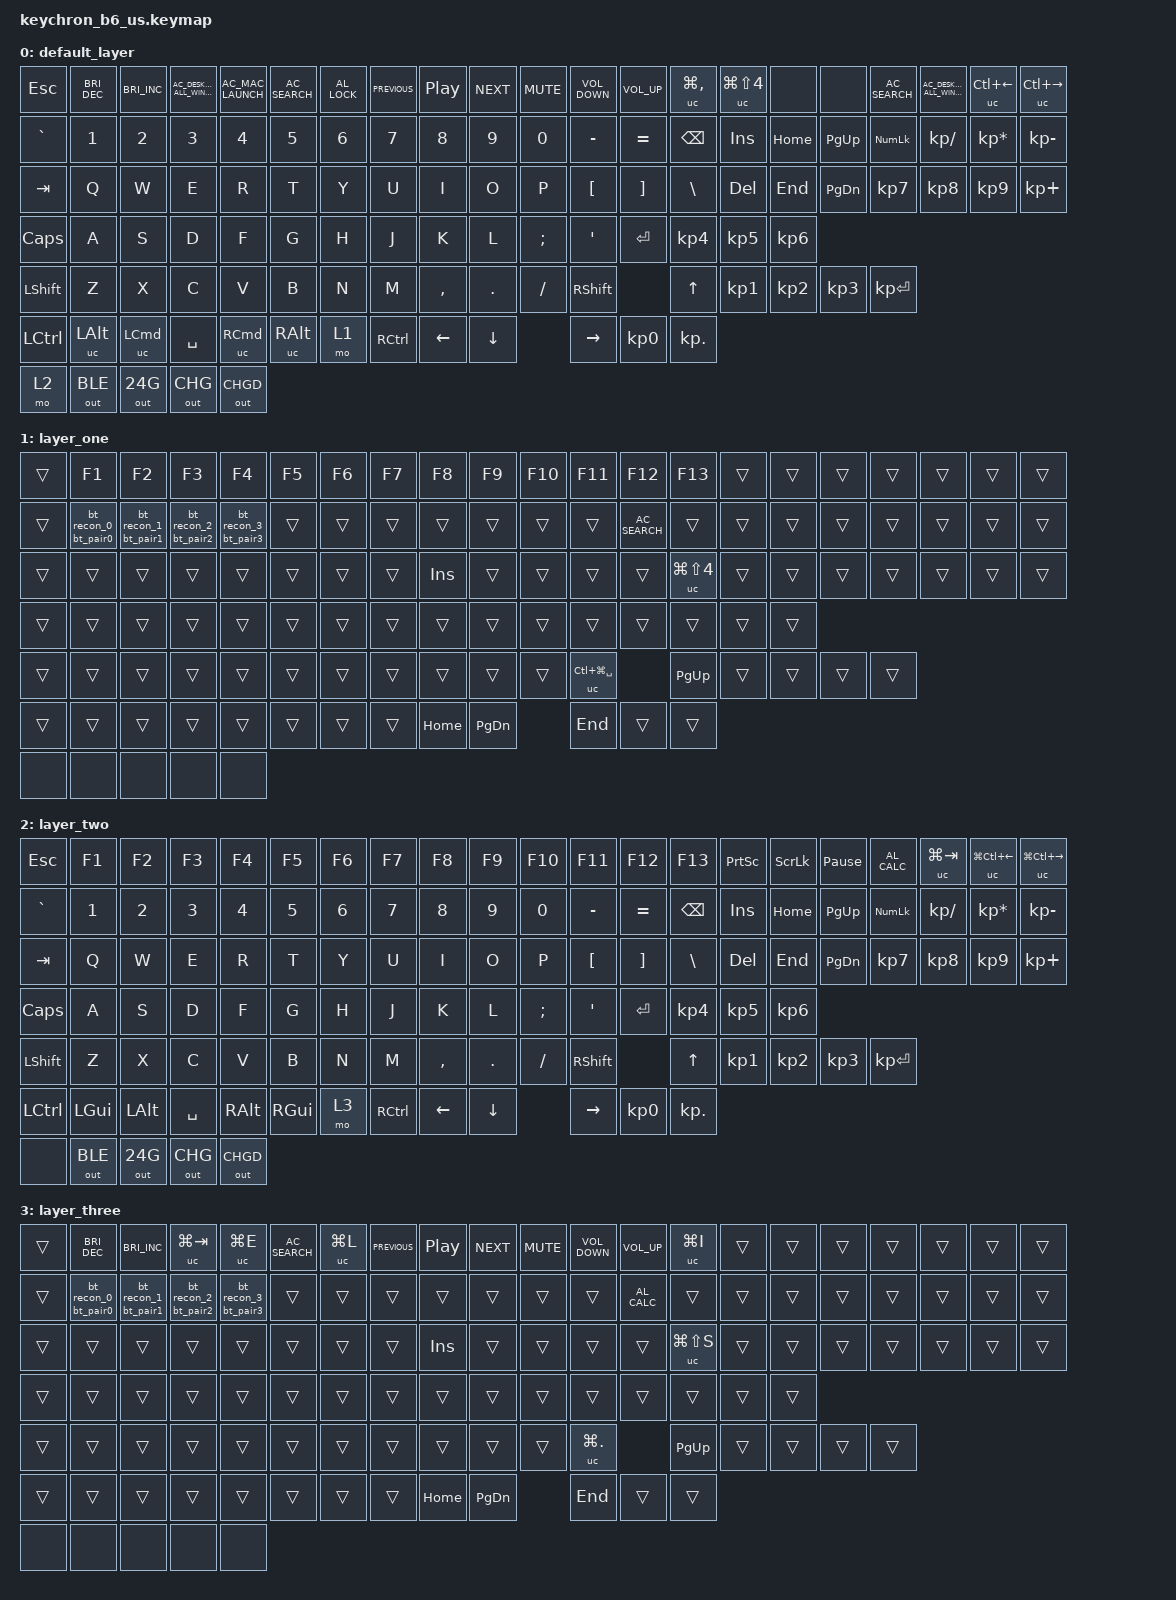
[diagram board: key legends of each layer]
/*
 * Corrected keymap for Keychron B6 Pro
 * Row sizes: 21, 21, 21, 16, 17, 13, 5 = 114 keys
 */

#include <behaviors.dtsi>
#include <dt-bindings/zmk/keys.h>
#include <dt-bindings/zmk/rgb.h>
#include <dt-bindings/zmk/bt.h>
#include <dt-bindings/zmk/outputs.h>

/ {
    ZMK_MACRO(recover, bindings = <&out OUT_RECOVER>;)
    ZMK_MACRO(change, bindings = <&out OUT_FN>;)
    ZMK_MACRO(fn_win, bindings = <&out OUT_FN_WIN>;)
    ZMK_MACRO(en_bootloader, bindings = <&bootloader>;)
    ZMK_MACRO1(MA,bindings=<&kp 0x770000>;)

    long_press_recover:l1 {
        compatible = "zmk,behavior-hold-tap";
        label = "l1";
        #binding-cells = <2>;
        flavor = "tap-preferred";
        tapping-term-ms = <3000>;
        bindings = <&recover>, <&none>;
    };
    long_press_change:l2{
        compatible = "zmk,behavior-hold-tap";
        label = "lp_change";
        #binding-cells = <2>;
        flavor = "tap-preferred";
        tapping-term-ms = <3000>;
        bindings = <&change>, <&none>;
    };
    long_press_bootloader:l3{
        compatible = "zmk,behavior-hold-tap";
        label = "lp_bootloader";
        #binding-cells = <2>;
        flavor = "tap-preferred";
        tapping-term-ms = <3000>;
        bindings = <&en_bootloader>, <&none>;
    };
    long_press_fn_win:l4{
        compatible = "zmk,behavior-hold-tap";
        label = "lp_fn_win";
        #binding-cells = <2>;
        flavor = "tap-preferred";
        tapping-term-ms = <3000>;
        bindings = <&fn_win>, <&none>;
    };

    combos1 {
        compatible = "zmk,combos";
        combo_bootloader {
            timeout-ms = <50>;
            key-positions = <0 49>;
            bindings = <&bootloader>;
        };
    };

    ZMK_MACRO(bt_pair0, bindings = <&bt BT_PAIR 0>;)
    ZMK_MACRO(bt_pair1, bindings = <&bt BT_PAIR 1>;)
    ZMK_MACRO(bt_pair2, bindings = <&bt BT_PAIR 2>;)
    ZMK_MACRO(bt_pair3, bindings = <&bt BT_PAIR 3>;)
    ZMK_MACRO(bt_recon_0, bindings = <&bt BT_SEL 0>;)
    ZMK_MACRO(bt_recon_1, bindings = <&bt BT_SEL 1>;)
    ZMK_MACRO(bt_recon_2, bindings = <&bt BT_SEL 2>;)
    ZMK_MACRO(bt_recon_3, bindings = <&bt BT_SEL 3>;)

    bt_pair_0: bt_pair_0 {
        compatible = "zmk,behavior-hold-tap";
        label = "bt_pair0";
        #binding-cells = <2>;
        flavor = "tap-preferred";
        tapping-term-ms = <3000>;
        bindings = <&bt_pair0>, <&bt_recon_0>;
    };
    bt_pair_1: bt_pair_1 {
        compatible = "zmk,behavior-hold-tap";
        label = "bt_pair1";
        #binding-cells = <2>;
        flavor = "tap-preferred";
        tapping-term-ms = <3000>;
        bindings = <&bt_pair1>, <&bt_recon_1>;
    };
    bt_pair_2: bt_pair_2 {
        compatible = "zmk,behavior-hold-tap";
        label = "bt_pair2";
        #binding-cells = <2>;
        flavor = "tap-preferred";
        tapping-term-ms = <3000>;
        bindings = <&bt_pair2>, <&bt_recon_2>;
    };
    bt_pair_3: bt_pair_3 {
        compatible = "zmk,behavior-hold-tap";
        label = "bt_pair3";
        #binding-cells = <2>;
        flavor = "tap-preferred";
        tapping-term-ms = <3000>;
        bindings = <&bt_pair3>, <&bt_recon_3>;
    };

    uc:user_custom {
        compatible = "zmk,behavior-key-press";
        label ="user_custom";
        #binding-cells =<1>;
    };

    keymap {
        compatible = "zmk,keymap";
        
        default_layer {
            bindings = <
    &kp ESC  &kp C_BRIGHTNESS_DEC  &kp C_BRIGHTNESS_INC  &kp C_AC_DESKTOP_SHOW_ALL_WINDOWS  &kp C_AC_MAC_LAUNCH  &kp C_AC_SEARCH  &kp C_AL_LOCK  &kp C_PREVIOUS  &kp C_PLAY_PAUSE  &kp C_NEXT  &kp C_MUTE  &kp C_VOLUME_DOWN  &kp C_VOLUME_UP  &uc LG(COMMA)  &uc LG(LS(N4))  &none  &none  &kp C_AC_SEARCH  &kp C_AC_DESKTOP_SHOW_ALL_WINDOWS  &uc LC(LEFT)  &uc LC(RIGHT)
    &kp GRAVE  &kp N1  &kp N2  &kp N3  &kp N4  &kp N5  &kp N6  &kp N7  &kp N8  &kp N9  &kp N0  &kp MINUS  &kp EQUAL  &kp BSPC  &kp INS  &kp HOME  &kp PG_UP  &kp KP_NLCK  &kp KP_SLASH  &kp KP_ASTERISK  &kp KP_MINUS
    &kp TAB  &kp Q  &kp W  &kp E  &kp R  &kp T  &kp Y  &kp U  &kp I  &kp O  &kp P  &kp LBKT  &kp RBKT  &kp BSLH  &kp DEL  &kp END  &kp PG_DN  &kp KP_N7  &kp KP_N8  &kp KP_N9  &kp KP_PLUS
    &kp CLCK  &kp A  &kp S  &kp D  &kp F  &kp G  &kp H  &kp J  &kp K  &kp L  &kp SEMI  &kp SQT  &kp RET  &kp KP_N4  &kp KP_N5  &kp KP_N6
    &kp LSHFT  &kp Z  &kp X  &kp C  &kp V  &kp B  &kp N  &kp M  &kp COMMA  &kp DOT  &kp FSLH  &kp RSHFT  &kp UP  &kp KP_N1  &kp KP_N2  &kp KP_N3  &kp KP_ENTER
    &kp LCTRL  &uc LALT  &uc LCMD  &kp SPACE  &uc RCMD  &uc RALT  &mo 1  &kp RCTRL  &kp LEFT  &kp DOWN  &kp RIGHT  &kp KP_N0  &kp KP_DOT
    &mo 2  &out OUT_BLE  &out OUT_24G  &out OUT_CHG  &out OUT_CHGD
            >;
        };

        layer_one {
            bindings = <
    &trans  &kp F1  &kp F2  &kp F3  &kp F4  &kp F5  &kp F6  &kp F7  &kp F8  &kp F9  &kp F10  &kp F11  &kp F12  &kp F13  &trans  &trans  &trans  &trans  &trans  &trans  &trans
    &trans  &bt_pair_0 0 0  &bt_pair_1 0 0  &bt_pair_2 0 0  &bt_pair_3 0 0  &trans  &trans  &trans  &trans  &trans  &trans  &trans  &kp C_AC_SEARCH  &trans  &trans  &trans  &trans  &trans  &trans  &trans  &trans
    &trans  &trans  &trans  &trans  &trans  &trans  &trans  &trans  &kp INS  &trans  &trans  &trans  &trans  &uc LG(LS(N4))  &trans  &trans  &trans  &trans  &trans  &trans  &trans
    &trans  &trans  &trans  &trans  &trans  &trans  &trans  &trans  &trans  &trans  &trans  &trans  &trans  &trans  &trans  &trans
    &trans  &trans  &trans  &trans  &trans  &trans  &trans  &trans  &trans  &trans  &trans  &uc LC(LG(SPACE))  &kp PG_UP  &trans  &trans  &trans  &trans
    &trans  &trans  &trans  &trans  &trans  &trans  &trans  &trans  &kp HOME  &kp PG_DN  &kp END  &trans  &trans
    &none  &none  &none  &none  &none
            >;
        };

        layer_two {
            bindings = <
    &kp ESC  &kp F1  &kp F2  &kp F3  &kp F4  &kp F5  &kp F6  &kp F7  &kp F8  &kp F9  &kp F10  &kp F11  &kp F12  &kp F13  &kp PSCRN  &kp SLCK  &kp PAUSE_BREAK  &kp C_AL_CALC  &uc LG(TAB)  &uc LG(LC(LEFT))  &uc LG(LC(RIGHT))
    &kp GRAVE  &kp N1  &kp N2  &kp N3  &kp N4  &kp N5  &kp N6  &kp N7  &kp N8  &kp N9  &kp N0  &kp MINUS  &kp EQUAL  &kp BSPC  &kp INS  &kp HOME  &kp PG_UP  &kp KP_NLCK  &kp KP_SLASH  &kp KP_ASTERISK  &kp KP_MINUS
    &kp TAB  &kp Q  &kp W  &kp E  &kp R  &kp T  &kp Y  &kp U  &kp I  &kp O  &kp P  &kp LBKT  &kp RBKT  &kp BSLH  &kp DEL  &kp END  &kp PG_DN  &kp KP_N7  &kp KP_N8  &kp KP_N9  &kp KP_PLUS
    &kp CLCK  &kp A  &kp S  &kp D  &kp F  &kp G  &kp H  &kp J  &kp K  &kp L  &kp SEMI  &kp SQT  &kp RET  &kp KP_N4  &kp KP_N5  &kp KP_N6
    &kp LSHFT  &kp Z  &kp X  &kp C  &kp V  &kp B  &kp N  &kp M  &kp COMMA  &kp DOT  &kp FSLH  &kp RSHFT  &kp UP  &kp KP_N1  &kp KP_N2  &kp KP_N3  &kp KP_ENTER
    &kp LCTRL  &kp LGUI  &kp LALT  &kp SPACE  &kp RALT  &kp RGUI  &mo 3  &kp RCTRL  &kp LEFT  &kp DOWN  &kp RIGHT  &kp KP_N0  &kp KP_DOT
    &none  &out OUT_BLE  &out OUT_24G  &out OUT_CHG  &out OUT_CHGD
            >;
        };

        layer_three {
            bindings = <
    &trans  &kp C_BRIGHTNESS_DEC  &kp C_BRIGHTNESS_INC  &uc LG(TAB)  &uc LG(E)  &kp C_AC_SEARCH  &uc LG(L)  &kp C_PREVIOUS  &kp C_PLAY_PAUSE  &kp C_NEXT  &kp C_MUTE  &kp C_VOLUME_DOWN  &kp C_VOLUME_UP  &uc LG(I)  &trans  &trans  &trans  &trans  &trans  &trans  &trans
    &trans  &bt_pair_0 0 0  &bt_pair_1 0 0  &bt_pair_2 0 0  &bt_pair_3 0 0  &trans  &trans  &trans  &trans  &trans  &trans  &trans  &kp C_AL_CALC  &trans  &trans  &trans  &trans  &trans  &trans  &trans  &trans
    &trans  &trans  &trans  &trans  &trans  &trans  &trans  &trans  &kp INS  &trans  &trans  &trans  &trans  &uc LG(LS(S))  &trans  &trans  &trans  &trans  &trans  &trans  &trans
    &trans  &trans  &trans  &trans  &trans  &trans  &trans  &trans  &trans  &trans  &trans  &trans  &trans  &trans  &trans  &trans
    &trans  &trans  &trans  &trans  &trans  &trans  &trans  &trans  &trans  &trans  &trans  &uc LG(DOT)  &kp PG_UP  &trans  &trans  &trans  &trans
    &trans  &trans  &trans  &trans  &trans  &trans  &trans  &trans  &kp HOME  &kp PG_DN  &kp END  &trans  &trans
    &none  &none  &none  &none  &none
            >;
        };
    };
};
